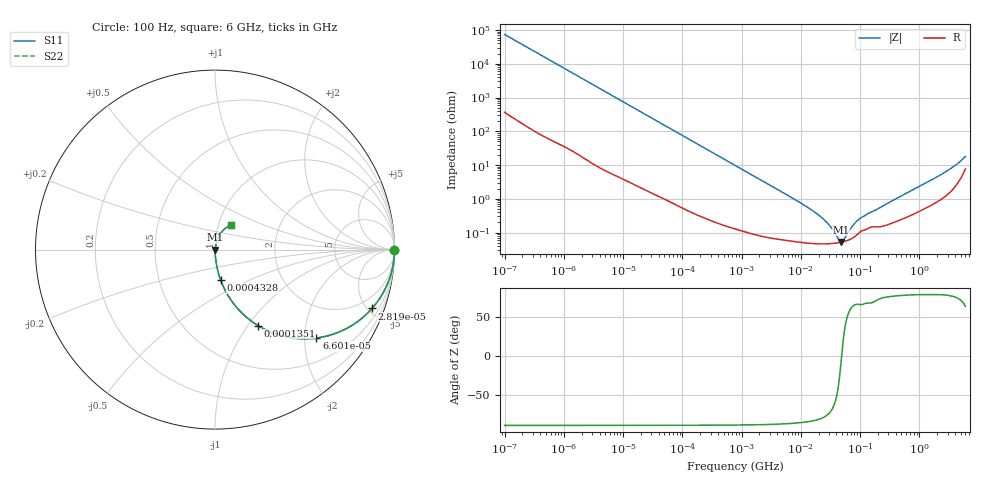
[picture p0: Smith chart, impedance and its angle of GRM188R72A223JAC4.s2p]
!Murata Part Number: GRM188R72A223JAC4
!These Parameters are Measured in Series Mode Connection
!Data Generated on Mar 30, 2021
!  o--ll--o
!Port1  Port2
!  o------o
!Operation Temp=25[degC], DC Bias Voltage=0[V]
!Freq. Start=100[Hz] Stop=6[GHz] 401[Steps]
# Hz S RI R 50
!Freq.(Hz) S11(Real) S11(Imag) S21(Real) S21(Imag) S12(Real) S12(Imag) S22(Real) S22(Imag)
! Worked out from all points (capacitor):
!   401 points, 100 Hz to 6 GHz, reference 50 ohm
!   read as one part in series: C = 21.5 nF near 109 Hz
!   lowest |Z| = 52 mohm at 47.65 MHz (marker M1)
!   series resonance near 48.83 MHz, so ESL is about 490 pH
!   S11 on the Smith chart (normalised r, x): 100 Hz: open; 28.19 kHz: 1.03, -5.32; 66 kHz: 1.02, -2.28; 135.1 kHz: 1.01, -1.12; 432.8 kHz: 1.00, -0.35; 6 GHz: 1.15, +0.32
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100  1 -0.00135  8.5e-06 0.00135  8.5e-06 0.00135  1 -0.00135
2008  0.9991 -0.0269  0.000853 0.0269  0.000853 0.0269  0.9991 -0.0269
8801  0.9858 -0.116  0.0142 0.116  0.0142 0.116  0.9858 -0.116
28191  0.8749 -0.3279  0.1251 0.3279  0.1251 0.3279  0.8749 -0.3279
40335  0.775 -0.4145  0.225 0.4145  0.225 0.4145  0.775 -0.4145
66005  0.5652 -0.4924  0.4348 0.4924  0.4348 0.4924  0.5652 -0.4924
135116  0.2397 -0.4233  0.7603 0.4233  0.7603 0.4233  0.2397 -0.4233
231233  0.0988 -0.2942  0.9012 0.2942  0.9012 0.2942  0.0988 -0.2942
432798  0.0315 -0.1695  0.9685 0.1695  0.9685 0.1695  0.0315 -0.1695
774597  0.0108 -0.0971  0.9892 0.0971  0.9892 0.0971  0.0108 -0.0971
2481164  0.00168 -0.0307  0.9983 0.0307  0.9983 0.0307  0.00168 -0.0307
1.555665e7  0.000491 -0.0045  0.9995 0.0045  0.9995 0.0045  0.000491 -0.0045
2.784235e7  0.000465 -0.00189  0.9995 0.00189  0.9995 0.00189  0.000465 -0.00189
3.482834e7  0.000475 -0.0011  0.9995 0.0011  0.9995 0.0011  0.000475 -0.0011
4.35672e7  0.000499 -0.000366  0.9995 0.000366  0.9995 0.000366  0.000499 -0.000366
4.764863e7  0.000514 -7.77e-05  0.9995 7.77e-05  0.9995 7.77e-05  0.000514 -7.77e-05
5.211241e7  0.000533 0.00021  0.9995 -0.00021  0.9995 -0.00021  0.000533 0.00021
7.129496e7  0.000654 0.00125  0.9993 -0.00125  0.9993 -0.00125  0.000654 0.00125
9.326766e7  0.000933 0.00219  0.9991 -0.00219  0.9991 -0.00219  0.000933 0.00219
3.124326e8  0.00183 0.00763  0.9982 -0.00763  0.9982 -0.00763  0.00183 0.00763
2.34314e9  0.0121 0.0505  0.9879 -0.0505  0.9879 -0.0505  0.0121 0.0505
6e9  0.0917 0.1361  0.9083 -0.1361  0.9083 -0.1361  0.0917 0.1361
